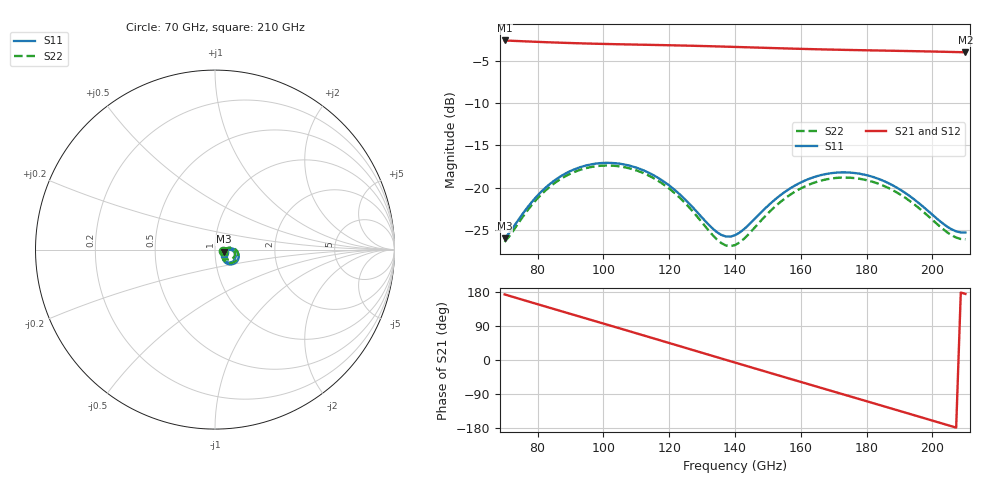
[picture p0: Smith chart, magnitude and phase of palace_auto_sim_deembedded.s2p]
! Created with skrf 1.11.0 (http://scikit-rf.org).
# GHz S DB R 50.0
!freq dBS11 angS11 dBS21 angS21 dBS12 angS12 dBS22 angS22
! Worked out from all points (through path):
!   101 points, 70 GHz to 210 GHz, reference 50 ohm
!   highest |S21| = -2.59 dB at 70 GHz (marker M1); lowest = -4.0 dB at 210 GHz (marker M2)
!   group delay of S21, straight-line fit = 7.12 ps
!   lowest |S11| = -26.0 dB at 70 GHz (marker M3), VSWR 1.11, Z = 55.1 - j1.24 ohm
!   |S11| at or under -10 dB: start of sweep to end of sweep
!   |S22| runs from -26.9 to -17.4 dB; largest |S21 - S12| = 8.5e-14
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70  -26.02 -13.0  -2.59 173.1  -2.59 173.1  -26.44 -11.4
75.6  -23.05 3.1  -2.68 158.6  -2.68 158.6  -23.41 5.5
82.6  -19.95 2.9  -2.79 140.6  -2.79 140.6  -20.28 5.6
93.8  -17.49 -11.3  -2.93 112.0  -2.93 112.0  -17.80 -8.3
99.4  -17.10 -20.2  -2.99 97.7  -2.99 97.7  -17.41 -17.0
105  -17.18 -29.2  -3.04 83.4  -3.04 83.4  -17.50 -26.0
110.6  -17.72 -37.9  -3.08 69.0  -3.08 69.0  -18.05 -34.7
117.6  -19.09 -47.1  -3.13 51.0  -3.13 51.0  -19.44 -44.1
128.8  -23.03 -50.5  -3.23 22.1  -3.23 22.1  -23.57 -48.4
135.8  -25.60 -34.2  -3.30 4.1  -3.30 4.1  -26.56 -31.9
140  -25.65 -18.2  -3.35 -6.7  -3.35 -6.7  -26.81 -13.8
145.6  -23.86 -3.9  -3.42 -21.1  -3.42 -21.1  -24.90 3.2
151.2  -21.74 -0.6  -3.48 -35.5  -3.48 -35.5  -22.60 7.3
158.2  -19.76 -5.1  -3.56 -53.3  -3.56 -53.3  -20.49 3.1
163.8  -18.78 -11.7  -3.62 -67.6  -3.62 -67.6  -19.46 -3.3
169.4  -18.29 -19.5  -3.67 -81.8  -3.67 -81.8  -18.92 -11.0
175  -18.23 -27.6  -3.71 -96.1  -3.71 -96.1  -18.84 -19.0
180.6  -18.59 -35.5  -3.76 -110.3  -3.76 -110.3  -19.18 -26.8
187.6  -19.67 -43.9  -3.80 -128.2  -3.80 -128.2  -20.24 -35.1
198.8  -22.81 -47.9  -3.89 -156.9  -3.89 -156.9  -23.41 -39.4
205.8  -24.94 -37.0  -3.95 -174.8  -3.95 -174.8  -25.64 -28.6
210  -25.32 -25.1  -3.99 174.4  -3.99 174.4  -26.12 -16.3
